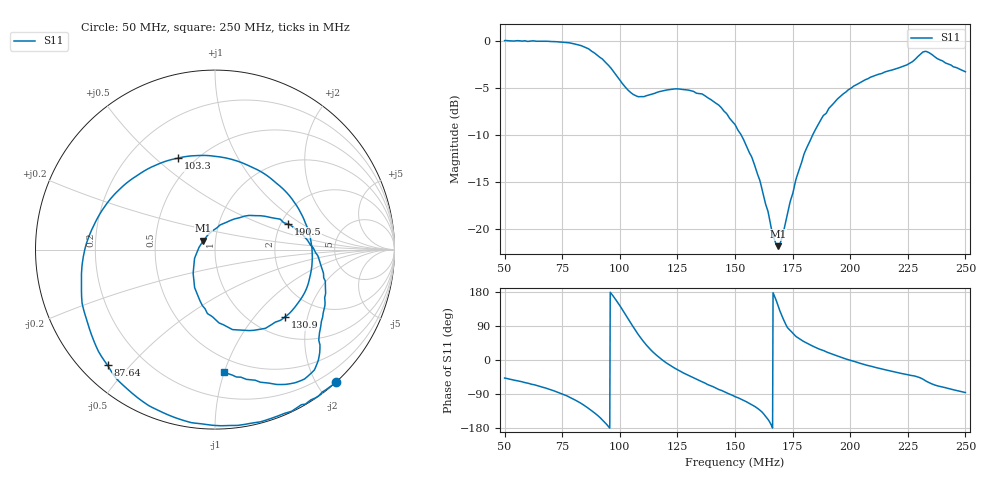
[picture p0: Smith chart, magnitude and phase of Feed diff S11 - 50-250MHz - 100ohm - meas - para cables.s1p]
# MHZ S MA R 100
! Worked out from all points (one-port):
!   1000 points, 50 MHz to 250 MHz, reference 100 ohm
!   lowest |S11| = -21.8 dB at 168.7 MHz (marker M1), VSWR 1.18, Z = 87.5 + j8.7 ohm
!   |S11| at or under -10 dB: 152.6 MHz to 183.7 MHz (31.11 MHz wide, 18.5 % of centre)
!   S11 on the Smith chart (normalised r, x): 50 MHz: 0.00, -2.26; 87.64 MHz: 0.08, -0.43; 103.3 MHz: 0.41, +0.59; 130.9 MHz: 1.38, -1.46; 190.5 MHz: 2.19, +0.77; 250 MHz: 0.39, -1.00
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50  0.9989 -47.7
63.21321  0.9932 -65.9
75.02502  0.9802 -89.7
82.03203  0.9487 -110.3
87.63764  0.8796 -132.9
94.64464  0.7484 -172.4
97.24725  0.6853 167.7
100.05  0.617 143.2
103.2532  0.55 112.1
107.2573  0.5075 74.0
113.0631  0.5158 29.2
118.2683  0.54 1.1
125.0751  0.5541 -25.7
130.8809  0.5414 -43.9
139.8899  0.4821 -68.9
150.1001  0.3568 -97.0
158.1081  0.2254 -120.8
168.7187  0.08105 142.5
175.1251  0.1551 70.7
180.9309  0.2664 45.5
190.5405  0.432 19.3
200.1501  0.5567 -1.0
209.7598  0.6451 -17.7
225.1752  0.7493 -39.2
230.7808  0.8521 -48.1
234.5846  0.8567 -60.7
238.3884  0.7949 -69.0
250  0.6831 -85.9
